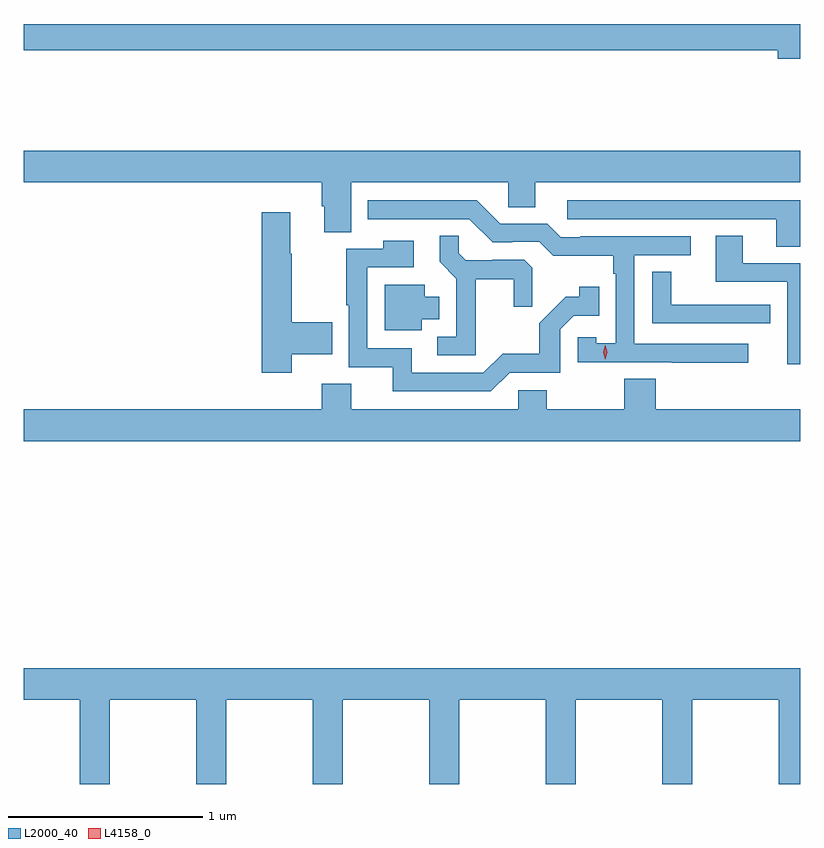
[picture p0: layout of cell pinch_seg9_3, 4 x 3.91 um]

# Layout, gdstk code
import gdstk
lib = gdstk.Library(unit=1e-6, precision=1e-09)
def P(c, l, *ps):  # polygons
    for p in ps: c.add(gdstk.Polygon(p, *l))
L2000_40 = (2000, 40)
L4158_0 = (4158, 0)

pinch_seg9_3 = lib.new_cell('pinch_seg9_3')
P(pinch_seg9_3, L2000_40, [(1061.23,1229.204),(1057.23,1229.204),(1057.23,1229.068),(1061.114,1229.068),(1061.114,1229.026),(1061.23,1229.026)],
  [(1058.917,1228.388),(1059.726,1228.388),(1059.726,1228.261),(1059.865,1228.261),(1059.865,1228.388),(1061.23,1228.388),(1061.23,1228.552),(1057.23,1228.552),(1057.23,1228.388),(1058.765,1228.388),(1058.765,1228.266),(1058.777,1228.266),(1058.777,1228.132),(1058.917,1228.132)],
  [(1061.23,1228.296),(1060.029,1228.296),(1060.029,1228.2),(1061.105,1228.2),(1061.105,1228.057),(1061.23,1228.057)],
  [(1060.96,1227.558),(1060.374,1227.558),(1060.374,1228.014),(1060.666,1228.014),(1060.666,1228.11),(1060.096,1228.11),(1060.096,1228.107),(1059.996,1228.107),(1059.927,1228.176),(1059.684,1228.176),(1059.564,1228.296),(1059.002,1228.296),(1059.002,1228.2),(1059.525,1228.2),(1059.645,1228.08),(1059.746,1228.08),(1059.746,1228.083),(1059.885,1228.083),(1059.958,1228.01),(1060.266,1228.01),(1060.266,1227.917),(1060.278,1227.917),(1060.278,1227.559),(1060.179,1227.559),(1060.179,1227.591),(1060.083,1227.591),(1060.083,1227.462),(1060.567,1227.462),(1060.567,1227.46),(1060.96,1227.46)],
  [(1058.61,1227.503),(1058.819,1227.503),(1058.819,1227.669),(1058.61,1227.669),(1058.61,1228.021),(1058.602,1228.021),(1058.602,1228.234),(1058.456,1228.234),(1058.456,1227.408),(1058.61,1227.408)],
  [(1059.557,1227.89),(1059.754,1227.89),(1059.754,1227.747),(1059.848,1227.747),(1059.848,1227.949),(1059.807,1227.99),(1059.642,1227.99),(1059.642,1227.987),(1059.508,1227.987),(1059.471,1228.024),(1059.471,1228.115),(1059.373,1228.115),(1059.373,1227.979),(1059.459,1227.893),(1059.459,1227.594),(1059.36,1227.594),(1059.36,1227.498),(1059.557,1227.498)],
  [(1061.23,1227.972),(1060.933,1227.972),(1060.933,1228.115),(1060.793,1228.115),(1060.793,1227.876),(1061.163,1227.876),(1061.163,1227.453),(1061.23,1227.453)],
  [(1059.732,1227.408),(1059.993,1227.408),(1059.993,1227.633),(1060.062,1227.702),(1060.193,1227.702),(1060.193,1227.85),(1060.092,1227.85),(1060.092,1227.8),(1060.022,1227.8),(1059.885,1227.662),(1059.885,1227.507),(1059.696,1227.507),(1059.597,1227.408),(1059.229,1227.408),(1059.229,1227.534),(1059,1227.534),(1059,1227.951),(1059.238,1227.951),(1059.238,1228.087),(1059.082,1228.087),(1059.082,1228.047),(1058.892,1228.047),(1058.892,1227.757),(1058.904,1227.757),(1058.904,1227.438),(1059.131,1227.438),(1059.131,1227.312),(1059.636,1227.312)],
  [(1061.074,1227.758),(1060.961,1227.758),(1060.961,1227.759),(1060.566,1227.759),(1060.566,1227.929),(1060.467,1227.929),(1060.467,1227.663),(1061.074,1227.663)],
  [(1059.28,1227.683),(1059.37,1227.683),(1059.37,1227.799),(1059.295,1227.799),(1059.295,1227.862),(1059.089,1227.862),(1059.089,1227.626),(1059.28,1227.626)],
  [(1061.23,1227.22),(1060.484,1227.22),(1060.484,1227.377),(1060.324,1227.377),(1060.324,1227.22),(1059.924,1227.22),(1059.924,1227.318),(1059.777,1227.318),(1059.777,1227.22),(1058.917,1227.22),(1058.917,1227.353),(1058.765,1227.353),(1058.765,1227.22),(1057.23,1227.22),(1057.23,1227.056),(1061.23,1227.056)],
  [(1057.674,1225.724),(1058.119,1225.724),(1058.119,1225.291),(1058.274,1225.291),(1058.274,1225.724),(1058.719,1225.724),(1058.719,1225.291),(1058.874,1225.291),(1058.874,1225.724),(1059.319,1225.724),(1059.319,1225.291),(1059.474,1225.291),(1059.474,1225.724),(1059.919,1225.724),(1059.919,1225.291),(1060.074,1225.291),(1060.074,1225.724),(1060.519,1225.724),(1060.519,1225.291),(1060.674,1225.291),(1060.674,1225.724),(1061.119,1225.724),(1061.119,1225.291),(1061.23,1225.291),(1061.23,1225.888),(1057.23,1225.888),(1057.23,1225.724),(1057.519,1225.724),(1057.519,1225.291),(1057.674,1225.291)])
P(pinch_seg9_3, L4158_0, [(1060.224,1227.477),(1060.224,1227.477),(1060.214,1227.513),(1060.224,1227.549),(1060.224,1227.549),(1060.224,1227.549),(1060.234,1227.513),(1060.224,1227.477)])

lib.write_gds('pinch_seg9_3.gds')
